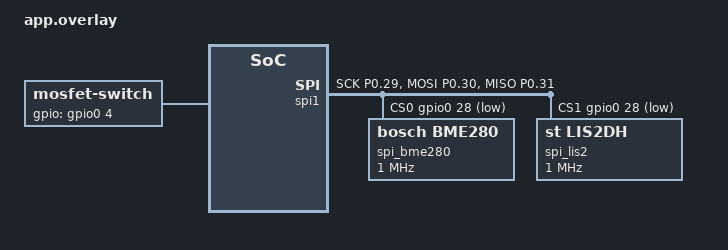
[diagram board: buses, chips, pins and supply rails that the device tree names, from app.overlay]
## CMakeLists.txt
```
cmake_minimum_required(VERSION 3.20.0)
find_package(Zephyr REQUIRED HINTS $ENV{ZEPHYR_BASE})

project(Zephyr_WakeUpTime_Check)

target_sources(app PRIVATE src/main.c)
```

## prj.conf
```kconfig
# Enables minimum number of ticks per kernel cycle
# CONFIG_NRF_RTC_TIMER=n
# CONFIG_CORTEX_M_SYSTICK=y
# CONFIG_SYS_CLOCK_HW_CYCLES_PER_SEC=64000000
# CONFIG_SYS_CLOCK_TICKS_PER_SEC=262144
# CONFIG_SYS_CLOCK_TICKS_PER_SEC=262144
# CONFIG_TICKLESS_KERNEL=n

# For GPIO configuration
CONFIG_GPIO=y

# For math.h
CONFIG_NEWLIB_LIBC=y


# For logs
# Enables the use and aperance of dev logs
CONFIG_LOG=y


# For SPI configuration
# Enables SPI bus, SP1 specificaly
# CONFIG_SPI_NRFX_SPIM=y
CONFIG_SPI=y
# CONFIG_NRFX_SPIM=y
CONFIG_NRFX_SPI1=y
# CONFIG_MAIN_STACK_SIZE=4096


# For Sensor Configuration
# Enables Sensores drivers, BME280, LIS2DH
# BME280:
#
# LIS2DH:
#   Max range: 4G
#   ODR: 2
CONFIG_SENSOR=y
# DT_HAS_BOSCH_BME280_ENABLED
CONFIG_BME280=y
CONFIG_LIS2DH=y
CONFIG_LIS2DH_OPER_MODE_NORMAL=y
CONFIG_LIS2DH_ACCEL_RANGE_4G=y
CONFIG_LIS2DH_ODR_1=y
```

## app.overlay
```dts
/*
 * This document alters the existing devicetree (nrf52dk_nrf52832.dts) for 
 * the nRF52dk.
 */


/* 
&i2c0 {
    status = "disabled";
};
*/

/ {
    mosfet: mosfet_switch {
		compatible = "mosfet-switch";
		gpios = <&gpio0 4 GPIO_ACTIVE_HIGH>;
	};
};


&spi1 {
    compatible = "nordic,nrf-spi";
    status = "okay";
    cs-gpios = <&gpio0 28 (GPIO_ACTIVE_LOW | GPIO_OPEN_DRAIN)>,
                    <&gpio0 28 (GPIO_ACTIVE_LOW | GPIO_OPEN_DRAIN)>;
    
    // Used to define the pins for the spi bus exept cs
    pinctrl-0 = <&spi1_default>;
	//pinctrl-1 = <&spi1_sleep>;

    // Defines a bme280 type device
    spi_bme280: bme280@0 {
        compatible = "bosch,bme280";
        status = "okay";
        reg = <0>;
        spi-max-frequency = <1000000>;
    };

    spi_lis2: lis2dh@1 {
        compatible = "st,lis2dh";
        status = "okay";
        reg = <1>;
        spi-max-frequency = <1000000>;
    };
};

/*
 * Redefines the pins for the SPI1 bus
 */
&pinctrl {
    spi1_default: spi1_default {
        group1 {
            // NRF_PSEL() used in nRF SoCs can be diferent in outher brands
            psels = <NRF_PSEL(SPIM_SCK, 0, 29)>,
            <NRF_PSEL(SPIM_MOSI, 0, 30)>,
            <NRF_PSEL(SPIM_MISO, 0, 31)>;
            //bias-pull-down = <0>;
            //bias-pull-up = <1>;
        };
    };

    spi1_sleep: spi1_sleep {
        group1 {
            psels = <NRF_PSEL(SPIM_SCK, 0, 29)>,
            <NRF_PSEL(SPIM_MOSI, 0, 30)>,
            <NRF_PSEL(SPIM_MISO, 0, 31)>;
            //low-power-enable;
            //bias-pull-down = <0>;
            //bias-pull-up = <1>;
        };
    };
};
```

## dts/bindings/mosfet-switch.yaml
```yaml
# Copyright (c) 2023 Libre Solar Technologies GmbH
# SPDX-License-Identifier: Apache-2.0

# A high level description of the device the binding applies to:
description: 
  This is a device to control the behaviure of a mosfet

# Used to match a node to this binding
compatible: "mosfet-switch"

# Requirements for and descriptions of the properties that this
# binding's nodes need to satisfy.
properties:
  gpios:
    type: phandle-array
    required: true
    description: |
      The GPIO connected to the gate driver for the MOSFET.
```

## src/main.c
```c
/*
 * Copyright (c) 2012-2014 Wind River Systems, Inc.
 *
 * SPDX-License-Identifier: Apache-2.0
 */

#include <stdio.h>
#include <stdlib.h>
#include <math.h>


#include <zephyr/kernel.h>
// For prints and Logs
#include <zephyr/sys/printk.h>
#include <zephyr/logging/log.h>
// For GPIO and interrupt
#include <zephyr/drivers/gpio.h>
#include <zephyr/sys/util.h>

// Getting the device pointers
#include <zephyr/device.h>
#include <zephyr/devicetree.h>
#include <zephyr/drivers/sensor.h>

// For SPI control
#include <zephyr/drivers/spi.h>


LOG_MODULE_REGISTER(Log_Main, LOG_LEVEL_DBG);

// Variable to check the button interrupt 
char checkButtonPress = 0;

/*
 * See https://www.doxygen.nl/manual/commands.html 
 * for coments
 */

/** 
 * @fn char checkDivice(const struct device *dev)
 * @brief Recives a device type pointer and verefies if its value is null
 * or if the device in question has been inicialized.
 * 
 * @param dev a device type pointer.
 * 
 * @retval 0 and dev becomes NULL if the device is fails.
 * @retval 1 if the device passed.
 */
char checkDivice(const struct device *dev) {
	LOG_INF("%s value %p\n", dev->name, dev);
	//printk("dev_lis value %d\n", dev_lis);

	if (dev == NULL) {
		LOG_WRN("%s not found", dev->name);
		dev = NULL;
    	return 0;
	}

	LOG_INF("%s ready values %d, %d\n", dev->name, dev->state->initialized, (dev->state->init_res == 0U));
	
	if (!device_is_ready(dev)) {
		LOG_WRN("%s not ready", dev->name);
		dev = NULL;
    	return 0;
	}

	return 1;
}

/** 
 * @fn char configGPIO(const struct gpio_dt_spec *gpio_spec, uint32_t gpio_type)
 * @brief Recives a gpio spec type pointer and verefies if its gpio is ready to use.
 * It also recives a gpio type to configure the gpio's behavior.
 * 
 * @param dgpio_spec a gpio_dt_spec type pointer.
 * @param gpio_type a gpio_flags_t type that defines the gpio behavior
 * 
 * @retval 0 if the device is fails.
 * @retval 1 if the device passed.
 */
char configGPIO(const struct gpio_dt_spec *gpio_spec, gpio_flags_t gpio_type) {
	int err;

	if (!gpio_is_ready_dt(gpio_spec)) {
		printk("The load switch pin GPIO port is not ready.\n");
		return 0;
	}

	err = gpio_pin_configure_dt(gpio_spec, gpio_type);
	if (err != 0) {
		printk("Error %d: failed to configure %s pin %d\n", err, gpio_spec->port->name, gpio_spec->pin);
		return 0;
	}

	return 1;
}

/** 
 * @fn void button_pressed(const struct device *dev, struct gpio_callback *cb, uint32_t pins)
 * @brief Callback function for the interrupt resolted from pressing 
 * button 1 (sw0) in the nRF52 PDK board.
 * 
 * @param dev a device type pointer.
 * @param cb callback indicator ???
 * @param pins pin in which the interrupt was originated 
 */
void button_pressed(const struct device *dev, struct gpio_callback *cb, uint32_t pins) {
	printk("Button pressed at %u\n", k_cycle_get_32());
	checkButtonPress = 1;
}


// Control the device read
#define SPI_BME280 1
#define SPI_LIS2DH 2

#define SPI_DEV_NODELABEL SPI_LIS2DH

int main(void) {
	LOG_INF("Hello World! %s\n", CONFIG_BOARD);
	// ---------------------------------- SPI --------------------------------------------------
	// Buffers used in SPI
	uint8_t addr;
	struct spi_buf tx_buf = {.buf = &addr, .len = 1};
	struct spi_buf_set tx = {.buffers = &tx_buf, .count = 1};

	uint8_t buf[2];
	struct spi_buf rx_buf[2] = {{.buf=&buf[0],.len=1},{.buf=&buf[1],.len=1}};
	struct spi_buf_set rx = {.buffers = rx_buf, .count = ARRAY_SIZE(rx_buf)};

	/* SPI configurations
	 * bme280: 
	 * 		addr: 0xD0 | 0x80;
	 * 		responce: 0x60;
	 * 		nodelabel: spi_bme280;
	 * lis2dh: 
	 * 		addr: 0x0F & 0xBF;
	 * 		responce: 0x33;
     * 		nodelabel: spi_lis2;
	 */ 
	#if SPI_DEV_NODELABEL == SPI_BME280
		addr = 0xD0 | 0x80;
		uint8_t buf1_resp = 0x60;
		#define DEV_NODELABEL spi_bme280
	#elif SPI_DEV_NODELABEL == SPI_LIS2DH
		addr = (/*0x0F*/0x27 & 0xBF) | 0x80;
		uint8_t buf1_resp = 0x0F;
		#define DEV_NODELABEL spi_lis2
	#endif

	// Variable with the SPI device specs
	struct spi_dt_spec spec_spi_dev = SPI_DT_SPEC_GET(DT_NODELABEL(DEV_NODELABEL), 
			(SPI_TRANSFER_MSB | SPI_MODE_CPOL | SPI_MODE_CPHA | 
			SPI_WORD_SET(8) | SPI_LINES_SINGLE), 0);
	
	if(!checkDivice(spec_spi_dev.bus)){
		return 0;
	}

	int err;
	/*
	err = lis2dh_spi_init(spec_spi_dev.bus);
	if (err) {
		printk("\n\nspi_transceive_dt err code: %d\n", err);
	}*/

	// ---------------------------------- Interrupt ----------------------------------------------
	// Variable with the nrf52 button 1 device specs
	static const struct gpio_dt_spec button = GPIO_DT_SPEC_GET_OR(DT_ALIAS(sw0), gpios, {0});
	static struct gpio_callback button_cb_data;
	
	// Configures button pin as input
	if(!configGPIO(&button, GPIO_INPUT)){
		return 0;
	}

	// Configures button pin as interrupt
	err = gpio_pin_interrupt_configure_dt(&button, GPIO_INT_EDGE_TO_ACTIVE);
	if (err != 0) {
		printk("Error %d: failed to configure interrupt on %s pin %d\n",
			err, button.port->name, button.pin);
		return 0;
	}

	// Inicializes the callback for the button interrupt
	gpio_init_callback(&button_cb_data, button_pressed, BIT(button.pin));
	gpio_add_callback(button.port, &button_cb_data);

	// ---------------------------------- Pin Control ----------------------------------------------
	// Mosfet specifications
	static const struct gpio_dt_spec mosfet = GPIO_DT_SPEC_GET_OR(DT_NODELABEL(mosfet), gpios, {0});
	const int mosfetOnValue = 1;

	// Configures button pin as output starting inactive (in this case 0) 
	if(!configGPIO(&mosfet, GPIO_OUTPUT_INACTIVE)){
		return 0;
	}

	err = gpio_pin_set_dt(&mosfet, mosfetOnValue);
	if (err != 0) {
		printk("Setting GPIO pin level %d failed: %d\n", mosfetOnValue, err);
		return 0;
	}

	printk("Waiting in loop");
	
	uint32_t start = 0;
	char letSPIPrint = 0;

	// Loop
	while(1){
		// Sends the tx buffer and recives in the rx buffer
		err = spi_transceive_dt(&spec_spi_dev, &tx, &rx);
		if (err) {
			printk("\n\nspi_transceive_dt err code: %d\n", err);
		}

		/*
		 * Shows buf[0] = 0xff and buf[0] = 0x60 becouse of full-duplex
		 * meaning that the first buf is read at the same time the tx is being written
		 */ 
		/*printk("\n\nbuff rx(0): %x", buf[0]);
		printk("\nbuff rx(1): %x", buf[1]);
		k_sleep(K_SECONDS(2));
		continue;*/

		#if SPI_DEV_NODELABEL == SPI_BME280
			if (buf[1] == buf1_resp && letSPIPrint)
		#elif SPI_DEV_NODELABEL == SPI_LIS2DH
			if (((buf[1] & 0x0F) == buf1_resp) && letSPIPrint)
		#endif
		{
			int time_us = k_cyc_to_us_ceil32(k_cycle_get_32() - start);
			printk("Time to ON in us %d\n", time_us);
			letSPIPrint = 0;
		} /*else if(letSPIPrint){
			printk("buff val: %x\n", buf[1]);
		}*/

		if (checkButtonPress){
			// Turns the mosfet off
			err = gpio_pin_set_dt(&mosfet, !mosfetOnValue);
			if (err != 0) {
				printk("Setting GPIO pin level %d failed: %d\n", !mosfetOnValue, err);
				return 0;
			}

			letSPIPrint = 1;

			printk("Mosfet turn off waiting 2 sec\n");
			k_sleep(K_SECONDS(2));

			// Turns the mosfet on
			err = gpio_pin_set_dt(&mosfet, mosfetOnValue);
			if (err != 0) {
				printk("Setting GPIO pin level %d failed: %d\n", mosfetOnValue, err);
				return 0;
			}

			// Gets kernel cycle number
			start = k_cycle_get_32();
			//printk("Mosfet turn on\n");

			checkButtonPress = 0;
		}	
	}

	return 0;
}
```
